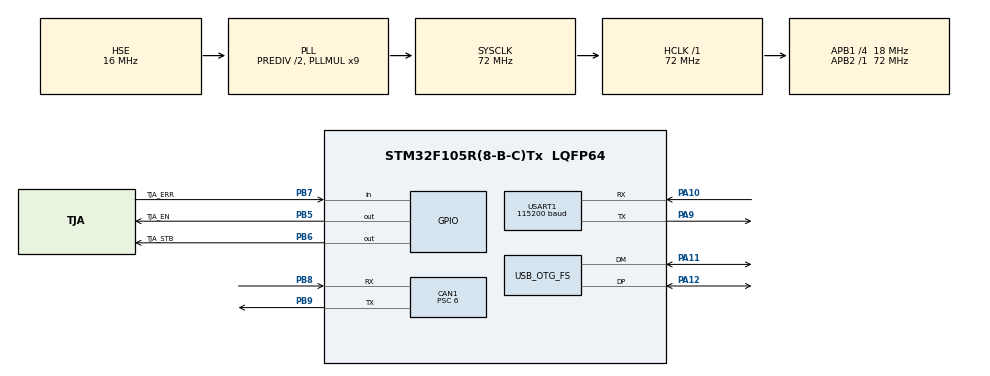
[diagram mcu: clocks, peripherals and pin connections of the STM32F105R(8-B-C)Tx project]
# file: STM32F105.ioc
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CAN1.BS1=CAN_BS1_6TQ
CAN1.BS2=CAN_BS2_5TQ
CAN1.CalculateTimeBit=4000
CAN1.CalculateTimeQuantum=333.33333333333337
CAN1.Mode=CAN_MODE_SILENT_LOOPBACK
CAN1.Prescaler=6
Dma.Request0=USART1_TX
Dma.Request1=USART1_RX
Dma.USART1_RX.1.Direction=DMA_PERIPH_TO_MEMORY
Dma.USART1_RX.1.Instance=DMA1_Channel5
Dma.USART1_RX.1.MemDataAlignment=DMA_MDATAALIGN_BYTE
Dma.USART1_RX.1.MemInc=DMA_MINC_ENABLE
Dma.USART1_RX.1.Mode=DMA_NORMAL
Dma.USART1_RX.1.PeriphDataAlignment=DMA_PDATAALIGN_BYTE
Dma.USART1_RX.1.PeriphInc=DMA_PINC_DISABLE
Dma.USART1_RX.1.Priority=DMA_PRIORITY_LOW
Dma.USART1_TX.0.Direction=DMA_MEMORY_TO_PERIPH
Dma.USART1_TX.0.Instance=DMA1_Channel4
Dma.USART1_TX.0.MemDataAlignment=DMA_MDATAALIGN_BYTE
Dma.USART1_TX.0.MemInc=DMA_MINC_ENABLE
Dma.USART1_TX.0.Mode=DMA_NORMAL
Dma.USART1_TX.0.PeriphDataAlignment=DMA_PDATAALIGN_BYTE
Dma.USART1_TX.0.PeriphInc=DMA_PINC_DISABLE
Dma.USART1_TX.0.Priority=DMA_PRIORITY_LOW
FREERTOS.Queues01=uartTxQueue,16,int,NULL;canRxQueue,16,int,NULL;canTxQueue,16,int,NULL
FREERTOS.Tasks01=defaultTask,0,128,StartDefaultTask;uartRxDmaTask,-3,128,StartUartRxDmaTask
Mcu.Family=STM32F1
Mcu.Name=STM32F105R(8-B-C)Tx
Mcu.Package=LQFP64
NVIC.CAN1_RX0_IRQn=true\:5\:0\:false
NVIC.CAN1_SCE_IRQn=true\:5\:0\:false
NVIC.CAN1_TX_IRQn=true\:5\:0\:false
NVIC.DMA1_Channel4_IRQn=true\:5\:0\:false
NVIC.DMA1_Channel5_IRQn=true\:5\:0\:false
NVIC.OTG_FS_IRQn=true\:5\:0\:false
NVIC.PriorityGroup=NVIC_PRIORITYGROUP_4
NVIC.USART1_IRQn=true\:5\:0\:false
PA10.Mode=Asynchronous
PA10.Signal=USART1_RX
PA11.Mode=Device_Only
PA11.Signal=USB_OTG_FS_DM
PA12.Mode=Device_Only
PA12.Signal=USB_OTG_FS_DP
PA13.Mode=Serial_Wire
PA13.Signal=SYS_JTMS-SWDIO
PA14.Mode=Serial_Wire
PA14.Signal=SYS_JTCK-SWCLK
PA9.Mode=Asynchronous
PA9.Signal=USART1_TX
PB5.GPIO_Label=TJA_EN
PB5.Signal=GPIO_Output
PB6.GPIO_Label=TJA_STB
PB6.Signal=GPIO_Output
PB7.GPIO_Label=TJA_ERR
PB7.Signal=GPIO_Input
PB8.Mode=Master
PB8.Signal=CAN1_RX
PB9.Mode=Master
PB9.Signal=CAN1_TX
PD0-OSC_IN.Mode=HSE-External-Oscillator
PD0-OSC_IN.Signal=RCC_OSC_IN
PD1-OSC_OUT.Mode=HSE-External-Oscillator
PD1-OSC_OUT.Signal=RCC_OSC_OUT
ProjectManager.TargetToolchain=SW4STM32
RCC.AHBFreq_Value=72000000
RCC.APB1CLKDivider=RCC_HCLK_DIV4
RCC.APB1Freq_Value=18000000
RCC.APB1TimFreq_Value=36000000
RCC.APB2Freq_Value=72000000
RCC.APB2TimFreq_Value=72000000
RCC.HCLKFreq_Value=72000000
RCC.HSEDivPLL=RCC_HSE_PREDIV_DIV2
RCC.HSE_VALUE=16000000
RCC.HSIState=RCC_HSI_ON
RCC.PLLMUL=RCC_PLL_MUL9
RCC.PLLSourceVirtual=RCC_PLLSOURCE_HSE
RCC.Prediv2=RCC_HSE_PREDIV2_DIV2
RCC.SYSCLKFreq_VALUE=72000000
RCC.SYSCLKSource=RCC_SYSCLKSOURCE_PLLCLK
RCC.TimSys_Div=SYSTICK_CLKSOURCE_HCLK_DIV8
RCC.USBFreq_Value=48000000
TIM6.Period=60000
TIM6.Prescaler=35999
TIM6.TIM_MasterOutputTrigger=TIM_TRGO_RESET
USART1.BaudRate=115200
USB_DEVICE.USBD_HandleTypeDef=hUsbDeviceFS
USB_DEVICE.VirtualMode=Cdc
USB_DEVICE.VirtualModeFS=Cdc_FS
USB_OTG_FS.VirtualMode=Device_Only
VP_FREERTOS_VS_ENABLE.Mode=Enabled
VP_TIM6_VS_ClockSourceINT.Mode=Enable_Timer
VP_USB_DEVICE_VS_USB_DEVICE_CDC_FS.Mode=CDC_FS
board=STM32F105

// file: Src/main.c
/**
  ******************************************************************************
  * File Name          : main.c
  * Description        : Main program body
  ******************************************************************************
  *
  * COPYRIGHT(c) 2015 STMicroelectronics
  *
  * Redistribution and use in source and binary forms, with or without modification,
  * are permitted provided that the following conditions are met:
  *   1. Redistributions of source code must retain the above copyright notice,
  *      this list of conditions and the following disclaimer.
  *   2. Redistributions in binary form must reproduce the above copyright notice,
  *      this list of conditions and the following disclaimer in the documentation
  *      and/or other materials provided with the distribution.
  *   3. Neither the name of STMicroelectronics nor the names of its contributors
  *      may be used to endorse or promote products derived from this software
  *      without specific prior written permission.
  *
  * THIS SOFTWARE IS PROVIDED BY THE COPYRIGHT HOLDERS AND CONTRIBUTORS "AS IS"
  * AND ANY EXPRESS OR IMPLIED WARRANTIES, INCLUDING, BUT NOT LIMITED TO, THE
  * IMPLIED WARRANTIES OF MERCHANTABILITY AND FITNESS FOR A PARTICULAR PURPOSE ARE
  * DISCLAIMED. IN NO EVENT SHALL THE COPYRIGHT HOLDER OR CONTRIBUTORS BE LIABLE
  * FOR ANY DIRECT, INDIRECT, INCIDENTAL, SPECIAL, EXEMPLARY, OR CONSEQUENTIAL
  * DAMAGES (INCLUDING, BUT NOT LIMITED TO, PROCUREMENT OF SUBSTITUTE GOODS OR
  * SERVICES; LOSS OF USE, DATA, OR PROFITS; OR BUSINESS INTERRUPTION) HOWEVER
  * CAUSED AND ON ANY THEORY OF LIABILITY, WHETHER IN CONTRACT, STRICT LIABILITY,
  * OR TORT (INCLUDING NEGLIGENCE OR OTHERWISE) ARISING IN ANY WAY OUT OF THE USE
  * OF THIS SOFTWARE, EVEN IF ADVISED OF THE POSSIBILITY OF SUCH DAMAGE.
  *
  ******************************************************************************
  */
#include "stm32f1xx_hal.h"
#include "cmsis_os.h"
#include "usb_device.h"

/* USER CODE BEGIN Includes */
#include <string.h>
#include <stdlib.h>
#include "canhacker.h"
#include "tja1055.h"
/* USER CODE END Includes */

CAN_HandleTypeDef hcan1;

TIM_HandleTypeDef htim6;

UART_HandleTypeDef huart1;
DMA_HandleTypeDef hdma_usart1_tx;
DMA_HandleTypeDef hdma_usart1_rx;

osThreadId defaultTaskHandle;
osThreadId uartRxDmaTaskHandle;
osMessageQId uartTxQueueHandle;
osMessageQId canRxQueueHandle;
osMessageQId canTxQueueHandle;

/* USER CODE BEGIN PV */
/* Private variables ---------------------------------------------------------*/
#define UART_RX_LINE_BUFFER 80
int timer = 0;
uint8_t uartLine[UART_RX_LINE_BUFFER];
int uartLineIndex = 0;
#define UART_RX_BUFFER 256

CAN_HandleTypeDef hcan1;
static CanTxMsgTypeDef        can1TxMessage;
static CanRxMsgTypeDef        can1RxMessage;

TJA1055_HandleTypeDef tja1055;
CanHacker_HandleTypeDef hcanhacker;

typedef struct
{
    uint8_t buffer[UART_RX_BUFFER];
    uint8_t readed;
    uint8_t filled;
    int offset;
} UART_DMA_RX_Buffer;

#define UART_RX_BUFFERS_COUNT 2

UART_DMA_RX_Buffer uartRxBuffer[UART_RX_BUFFERS_COUNT]= {
    { .readed = 1, .filled = 0, .offset = 0 },
    { .readed = 1, .filled = 0, .offset = 0 }
};
int currentUartRxBuffer = 0;
int currentUartRxBufferToRead = 0;

/* USER CODE END PV */

void SystemClock_Config(void);
static void MX_GPIO_Init(void);
static void MX_DMA_Init(void);
static void MX_CAN1_Init(void);
static void MX_TIM6_Init(void);
static void MX_USART1_UART_Init(void);
void StartDefaultTask(void const * argument);
void StartUartRxDmaTask(void const * argument);

/* USER CODE BEGIN PFP */
/* Private function prototypes -----------------------------------------------*/
void throwError(char *msg);

void txUart();
void txCan();
void rxCan();
void transmitErrorMessage(char *message);
/* USER CODE END PFP */

int main(void)
{

  /* MCU Configuration----------------------------------------------------------*/

  /* Reset of all peripherals, Initializes the Flash interface and the Systick. */
  HAL_Init();

  /* Configure the system clock */
  SystemClock_Config();

  /* Initialize all configured peripherals */
  MX_GPIO_Init();
  MX_DMA_Init();
  MX_CAN1_Init();
  MX_TIM6_Init();
  MX_USART1_UART_Init();

  /* USER CODE BEGIN 2 */

    tja1055.enPort = GPIOB;
    tja1055.enPin = TJA_EN_Pin;
    tja1055.errPort = GPIOB;
    tja1055.errPin = TJA_ERR_Pin;
    tja1055.stbPort = GPIOB;
    tja1055.stbPin = TJA_STB_Pin;
    TJA1055_Init(&tja1055);

    CanHacker_Init(&hcanhacker);

    hcan1.pTxMsg = &can1TxMessage;
    hcan1.pRxMsg = &can1RxMessage;

    CAN_FilterConfTypeDef canFilterConfig;
    canFilterConfig.FilterNumber = 0;
    canFilterConfig.FilterMode = CAN_FILTERMODE_IDMASK;
    canFilterConfig.FilterScale = CAN_FILTERSCALE_32BIT;
    canFilterConfig.FilterIdHigh = 0x0000;
    canFilterConfig.FilterIdLow = 0x0000;
    canFilterConfig.FilterMaskIdHigh = 0x0000 << 5;
    canFilterConfig.FilterMaskIdLow = 0x0000;
    canFilterConfig.FilterFIFOAssignment = 0;
    canFilterConfig.FilterActivation = ENABLE;
    canFilterConfig.BankNumber = 1;
    HAL_CAN_ConfigFilter(&hcan1, &canFilterConfig);

  /* USER CODE END 2 */

  /* Create the thread(s) */
  /* definition and creation of defaultTask */
  osThreadDef(defaultTask, StartDefaultTask, osPriorityNormal, 0, 128);
  defaultTaskHandle = osThreadCreate(osThread(defaultTask), NULL);

  /* definition and creation of uartRxDmaTask */
  osThreadDef(uartRxDmaTask, StartUartRxDmaTask, osPriorityIdle, 0, 128);
  uartRxDmaTaskHandle = osThreadCreate(osThread(uartRxDmaTask), NULL);

  /* Create the queue(s) */
  /* definition and creation of uartTxQueue */
  osMessageQDef(uartTxQueue, 16, int);
  uartTxQueueHandle = osMessageCreate(osMessageQ(uartTxQueue), NULL);

  /* definition and creation of canRxQueue */
  osMessageQDef(canRxQueue, 16, int);
  canRxQueueHandle = osMessageCreate(osMessageQ(canRxQueue), NULL);

  /* definition and creation of canTxQueue */
  osMessageQDef(canTxQueue, 16, int);
  canTxQueueHandle = osMessageCreate(osMessageQ(canTxQueue), NULL);

  /* Start scheduler */
  osKernelStart();

  /* We should never get here as control is now taken by the scheduler */

  /* Infinite loop */
  /* USER CODE BEGIN WHILE */
  while (1)
  {

      osDelay(1000);

  /* USER CODE END WHILE */

  }

}

/** System Clock Configuration
*/
void SystemClock_Config(void)
{

  RCC_OscInitTypeDef RCC_OscInitStruct;
  RCC_ClkInitTypeDef RCC_ClkInitStruct;
  RCC_PeriphCLKInitTypeDef PeriphClkInit;

  RCC_OscInitStruct.OscillatorType = RCC_OSCILLATORTYPE_HSE;
  RCC_OscInitStruct.HSEState = RCC_HSE_ON;
  RCC_OscInitStruct.HSEPredivValue = RCC_HSE_PREDIV_DIV2;
  RCC_OscInitStruct.Prediv1Source = RCC_PREDIV1_SOURCE_HSE;
  RCC_OscInitStruct.PLL.PLLState = RCC_PLL_ON;
  RCC_OscInitStruct.PLL.PLLSource = RCC_PLLSOURCE_HSE;
  RCC_OscInitStruct.PLL.PLLMUL = RCC_PLL_MUL9;
  RCC_OscInitStruct.PLL2.PLL2State = RCC_PLL_NONE;
  HAL_RCC_OscConfig(&RCC_OscInitStruct);

  RCC_ClkInitStruct.ClockType = RCC_CLOCKTYPE_SYSCLK|RCC_CLOCKTYPE_PCLK1;
  RCC_ClkInitStruct.SYSCLKSource = RCC_SYSCLKSOURCE_PLLCLK;
  RCC_ClkInitStruct.AHBCLKDivider = RCC_SYSCLK_DIV1;
  RCC_ClkInitStruct.APB1CLKDivider = RCC_HCLK_DIV4;
  RCC_ClkInitStruct.APB2CLKDivider = RCC_HCLK_DIV1;
  HAL_RCC_ClockConfig(&RCC_ClkInitStruct, FLASH_LATENCY_2);

  PeriphClkInit.PeriphClockSelection = RCC_PERIPHCLK_USB;
  PeriphClkInit.UsbClockSelection = RCC_USBPLLCLK_DIV3;
  HAL_RCCEx_PeriphCLKConfig(&PeriphClkInit);

  HAL_SYSTICK_Config(HAL_RCC_GetHCLKFreq()/8000);

  HAL_SYSTICK_CLKSourceConfig(SYSTICK_CLKSOURCE_HCLK_DIV8);

  __HAL_RCC_PLLI2S_ENABLE();

  /* SysTick_IRQn interrupt configuration */
  HAL_NVIC_SetPriority(SysTick_IRQn, 0, 0);
}

/* CAN1 init function */
void MX_CAN1_Init(void)
{

  hcan1.Instance = CAN1;
  hcan1.Init.Prescaler = 6;
  hcan1.Init.Mode = CAN_MODE_SILENT_LOOPBACK;
  hcan1.Init.SJW = CAN_SJW_1TQ;
  hcan1.Init.BS1 = CAN_BS1_6TQ;
  hcan1.Init.BS2 = CAN_BS2_5TQ;
  hcan1.Init.TTCM = DISABLE;
  hcan1.Init.ABOM = DISABLE;
  hcan1.Init.AWUM = DISABLE;
  hcan1.Init.NART = DISABLE;
  hcan1.Init.RFLM = DISABLE;
  hcan1.Init.TXFP = DISABLE;
  HAL_CAN_Init(&hcan1);

}

/* TIM6 init function */
void MX_TIM6_Init(void)
{

  TIM_MasterConfigTypeDef sMasterConfig;

  htim6.Instance = TIM6;
  htim6.Init.Prescaler = 35999;
  htim6.Init.CounterMode = TIM_COUNTERMODE_UP;
  htim6.Init.Period = 60000;
  HAL_TIM_Base_Init(&htim6);

  sMasterConfig.MasterOutputTrigger = TIM_TRGO_RESET;
  sMasterConfig.MasterSlaveMode = TIM_MASTERSLAVEMODE_DISABLE;
  HAL_TIMEx_MasterConfigSynchronization(&htim6, &sMasterConfig);

}

/* USART1 init function */
void MX_USART1_UART_Init(void)
{

  huart1.Instance = USART1;
  huart1.Init.BaudRate = 115200;
  huart1.Init.WordLength = UART_WORDLENGTH_8B;
  huart1.Init.StopBits = UART_STOPBITS_1;
  huart1.Init.Parity = UART_PARITY_NONE;
  huart1.Init.Mode = UART_MODE_TX_RX;
  huart1.Init.HwFlowCtl = UART_HWCONTROL_NONE;
  huart1.Init.OverSampling = UART_OVERSAMPLING_16;
  HAL_UART_Init(&huart1);

}

void MX_DMA_Init(void)
{
  /* DMA controller clock enable */
  __HAL_RCC_DMA1_CLK_ENABLE();

  /* DMA interrupt init */
  HAL_NVIC_SetPriority(DMA1_Channel4_IRQn, 5, 0);
  HAL_NVIC_EnableIRQ(DMA1_Channel4_IRQn);
  HAL_NVIC_SetPriority(DMA1_Channel5_IRQn, 5, 0);
  HAL_NVIC_EnableIRQ(DMA1_Channel5_IRQn);

}

/** Configure pins as
        * Analog
        * Input
        * Output
        * EVENT_OUT
        * EXTI
*/
void MX_GPIO_Init(void)
{

  GPIO_InitTypeDef GPIO_InitStruct;

  /* GPIO Ports Clock Enable */
  __HAL_RCC_GPIOD_CLK_ENABLE();
  __HAL_RCC_GPIOA_CLK_ENABLE();
  __HAL_RCC_GPIOB_CLK_ENABLE();

  /*Configure GPIO pins : TJA_EN_Pin TJA_STB_Pin */
  GPIO_InitStruct.Pin = TJA_EN_Pin|TJA_STB_Pin;
  GPIO_InitStruct.Mode = GPIO_MODE_OUTPUT_PP;
  GPIO_InitStruct.Speed = GPIO_SPEED_LOW;
  HAL_GPIO_Init(GPIOB, &GPIO_InitStruct);

  /*Configure GPIO pin : TJA_ERR_Pin */
  GPIO_InitStruct.Pin = TJA_ERR_Pin;
  GPIO_InitStruct.Mode = GPIO_MODE_INPUT;
  GPIO_InitStruct.Pull = GPIO_NOPULL;
  HAL_GPIO_Init(TJA_ERR_GPIO_Port, &GPIO_InitStruct);

}

/* USER CODE BEGIN 4 */
/*void MX_CAN1_Init(void)
{

    hcan1.Instance = CAN1;
    hcan1.Init.Prescaler = 6;
    hcan1.Init.Mode = CAN_MODE_SILENT_LOOPBACK;
    hcan1.Init.SJW = CAN_SJW_1TQ;
    hcan1.Init.BS1 = CAN_BS1_6TQ;
    hcan1.Init.BS2 = CAN_BS2_5TQ;
    hcan1.Init.TTCM = DISABLE;
    hcan1.Init.ABOM = DISABLE;
    hcan1.Init.AWUM = DISABLE;
    hcan1.Init.NART = DISABLE;
    hcan1.Init.RFLM = DISABLE;
    hcan1.Init.TXFP = DISABLE;
    HAL_StatusTypeDef canInitResult = HAL_CAN_Init(&hcan1);

    switch (canInitResult) {
        case HAL_OK: break;
        case HAL_ERROR:
            throwError("MX_CAN1_Init: error");
            break;
        case HAL_BUSY:
            throwError("MX_CAN1_Init: busy");
            break;
        case HAL_TIMEOUT:
            throwError("MX_CAN1_Init: timeout");
            break;
    }
}*/

void throwError(char *msg)
{
    transmitErrorMessage(msg);
    while(1) {
        HAL_Delay(1000);
    };
}

void txUart() {
    HAL_UART_StateTypeDef state = HAL_UART_GetState(&huart1);

    if (state == HAL_UART_STATE_BUSY_TX_RX || state == HAL_UART_STATE_BUSY_TX) {
    } else {

        osEvent event = osMessageGet(uartTxQueueHandle, osWaitForever);
        if (event.status == osEventMessage) {
            char *str = event.value.p;
            int len = strlen(str);
            if (len > 0) {
                HAL_StatusTypeDef result = HAL_UART_Transmit_DMA(&huart1, (uint8_t*)str, len);
                switch (result) {
                    case HAL_OK: break;
                    case HAL_ERROR:
                        throwError("HAL_UART_Transmit_IT: error");
                        break;
                    case HAL_BUSY:
                        throwError("HAL_UART_Transmit_IT: busy");
                        break;
                    case HAL_TIMEOUT:
                        throwError("HAL_UART_Transmit_IT: timeout");
                        break;
                }
            } else {
                free(str);
            }
        }
    }
}

void HAL_UART_TxCpltCallback(UART_HandleTypeDef *huart) {
    if (huart->pTxBuffPtr) {
        free(huart->pTxBuffPtr);
    }
    txUart();
}

void startUartDmaReceive(UART_HandleTypeDef *huart, UART_DMA_RX_Buffer *uartRxBuffer) {
    uartRxBuffer->readed = 0;
    HAL_StatusTypeDef result = HAL_UART_Receive_DMA(huart, uartRxBuffer->buffer, UART_RX_BUFFER);
    switch (result) {
        case HAL_OK: break;
        case HAL_ERROR: throwError("HAL_UART_Receive_DMA: error"); break;
        case HAL_BUSY: throwError("HAL_UART_Receive_DMA: busy"); break;
        case HAL_TIMEOUT: throwError("HAL_UART_Receive_DMA: timeout"); break;
    }
}

void HAL_UART_RxCpltCallback(UART_HandleTypeDef *huart) {

    if (huart->Instance == USART1) {
        // switch buffer
        uartRxBuffer[currentUartRxBuffer].filled = 1;
        currentUartRxBuffer++;
        currentUartRxBuffer %= UART_RX_BUFFERS_COUNT;
        if (!uartRxBuffer[currentUartRxBuffer].readed) {
            throwError("UART RX OVERRUN");
        }

        startUartDmaReceive(huart, &uartRxBuffer[currentUartRxBuffer]);
    }
}

void HAL_UART_ErrorCallback(UART_HandleTypeDef *huart) {
    uint32_t code = huart->ErrorCode;
    if (code & HAL_UART_ERROR_PE) { throwError("UART error: Parity error"); }
    if (code & HAL_UART_ERROR_NE) { throwError("UART error: Noise error"); }
    if (code & HAL_UART_ERROR_FE) { throwError("UART error: frame error"); }
    if (code & HAL_UART_ERROR_ORE) { throwError("UART error: Overrun error"); }
    if (code & HAL_UART_ERROR_DMA) { throwError("UART error: DMA error"); }
    char str[80];
    sprintf(str, "Uart error code: %X", (unsigned int)code);
    throwError(str);
}

void HAL_CAN_TxCpltCallback(CAN_HandleTypeDef* hcan) {
    printf("HAL_CAN_TxCpltCallback\n");
    txCan();
}

void HAL_CAN_RxCpltCallback(CAN_HandleTypeDef* hcan) {
    HAL_GPIO_TogglePin(GPIOC, GPIO_PIN_13);
    CanRxMsgTypeDef *rxMsg = malloc(sizeof(CanRxMsgTypeDef));
    memcpy(rxMsg, hcan->pRxMsg, sizeof(CanRxMsgTypeDef));

    osMessagePut (canRxQueueHandle, (uint32_t)rxMsg, osWaitForever);
    rxCan();
}

void HAL_CAN_ErrorCallback(CAN_HandleTypeDef *hcan) {
    throwError("HAL_CAN_ErrorCallback");
}

void rxCan() {
    HAL_StatusTypeDef result = HAL_CAN_Receive_IT(&hcan1, CAN_FIFO0);
    switch (result) {
        case HAL_OK: break;
        case HAL_ERROR:
            throwError("HAL_CAN_Receive_IT: error");
            break;
        case HAL_BUSY:
            throwError("HAL_CAN_Receive_IT: busy");
            break;
        case HAL_TIMEOUT:
            throwError("HAL_CAN_Receive_IT: timeout");
            break;
    }
    switch (hcan1.ErrorCode) {
        case HAL_CAN_ERROR_NONE: break;       /*!< No error             */
        case HAL_CAN_ERROR_EWG:               /*!< EWG error            */
        case HAL_CAN_ERROR_EPV:               /*!< EPV error            */
        case HAL_CAN_ERROR_BOF:               /*!< BOF error            */
        case HAL_CAN_ERROR_STF:               /*!< Stuff error          */
        case HAL_CAN_ERROR_FOR:               /*!< Form error           */
        case HAL_CAN_ERROR_ACK:               /*!< Acknowledgment error */
        case HAL_CAN_ERROR_BR:                /*!< Bit recessive        */
        case HAL_CAN_ERROR_BD:                /*!< LEC dominant         */
        case HAL_CAN_ERROR_CRC:
            throwError("RXCAN ERROR");
            break;
    }
}

void txCan() {
    if (hcan1.State == HAL_CAN_STATE_READY && hcan1.txState == HAL_CAN_RXTX_STATE_READY) {

        osEvent event = osMessageGet(canTxQueueHandle, osWaitForever);
        if (event.status == osEventMessage) {
            //memcpy(hcan.pTxMsg, event.value.p, sizeof(CanTxMsgTypeDef));
            can1TxMessage = *(CanTxMsgTypeDef *)event.value.p;
            HAL_StatusTypeDef result = HAL_CAN_Transmit_IT(&hcan1);
            free(event.value.p);
            switch (result) {
                case HAL_OK: break;
                case HAL_ERROR:
                    throwError("HAL_CAN_Transmit_IT: error");
                    break;
                case HAL_BUSY:
                    throwError("HAL_CAN_Transmit_IT: busy");
                    break;
                case HAL_TIMEOUT:
                    throwError("HAL_CAN_Transmit_IT: timeout");
                    break;
            }
            switch (hcan1.ErrorCode) {
                case HAL_CAN_ERROR_NONE: break;       /*!< No error             */
                case HAL_CAN_ERROR_EWG:               /*!< EWG error            */
                case HAL_CAN_ERROR_EPV:               /*!< EPV error            */
                case HAL_CAN_ERROR_BOF:               /*!< BOF error            */
                case HAL_CAN_ERROR_STF:               /*!< Stuff error          */
                case HAL_CAN_ERROR_FOR:               /*!< Form error           */
                case HAL_CAN_ERROR_ACK:               /*!< Acknowledgment error */
                case HAL_CAN_ERROR_BR:                /*!< Bit recessive        */
                case HAL_CAN_ERROR_BD:                /*!< LEC dominant         */
                case HAL_CAN_ERROR_CRC:
                    throwError("TXCAN error advanced");
                    break;
            }
        }
    } else {
        //printf("State is %d\n", hcan1.State);
        //throwError("State");
    }
}

void transmitErrorMessage(char *message) {
    int len = strlen((char *)message);
    char *str = malloc(len+3);
    memcpy(str, message, len);
    str[len] = '\r';
    str[len+1] = '\n';
    str[len+2] = '\0';

    osMessagePut (uartTxQueueHandle, (uint32_t)str, osWaitForever);
    txUart();

    return;
}

void gotoNextBufferToRead() {
    if (currentUartRxBufferToRead != currentUartRxBuffer) {
        currentUartRxBufferToRead++;
        currentUartRxBufferToRead %= UART_RX_BUFFERS_COUNT;
    }
}

int processUartDmaBuffer(UART_HandleTypeDef *huart, UART_DMA_RX_Buffer *uartRxBuffer) {
    int itemsProcessed = 0;

    if (uartRxBuffer->readed) {
        return itemsProcessed;
    }

    int dmaOffset;
    if (uartRxBuffer->filled) {
        dmaOffset = UART_RX_BUFFER;
    } else {
        dmaOffset = huart->RxXferSize - huart->hdmarx->Instance->CNDTR;
    }
    int bytesReady = dmaOffset - uartRxBuffer->offset;

    if (bytesReady > 0) {

        while(uartRxBuffer->offset < dmaOffset) {
            uint8_t c = uartRxBuffer->buffer[uartRxBuffer->offset];
            switch (c) {
                case '\0':
                case '\r':
                case '\n':
                    if (uartLineIndex > 0) {
                        uartLine[uartLineIndex++] = '\0';
                        /*uint8_t *str = malloc(uartLineIndex);
                        memcpy(str, uartLine, uartLineIndex);*/

                        CanHacker_Receive_Cmd(&hcanhacker, uartLine);

                        uartLineIndex = 0;
                        /*osStatus status = osMessagePut(uartRxQueueHandle, (uint32_t)str, osWaitForever);
                        switch (status) {
                            case osOK:
                                break;
                            default:
                                throwError("Error put to queue");
                                break;
                        }*/
                    }
                    break;
                default:
                    uartLine[uartLineIndex++] = c;
                    break;
            }

            uartRxBuffer->offset++;
        }

        itemsProcessed++;
    }

    if (uartRxBuffer->offset >= UART_RX_BUFFER) {
        uartRxBuffer->readed = 1;
        uartRxBuffer->offset = 0;
        uartRxBuffer->filled = 0;

        gotoNextBufferToRead();
    }

    return itemsProcessed;
}

void CanHacker_ErrorCallback(CanHacker_HandleTypeDef *canhacker, char *message) {
    throwError(message);
}

void CanHacker_CanTxMsgReadyCallback(CanHacker_HandleTypeDef *canhacker, CanTxMsgTypeDef *txMsg) {
    CanTxMsgTypeDef *txMsgQ = malloc(sizeof(CanTxMsgTypeDef));
    memcpy(txMsgQ, txMsg, sizeof(CanTxMsgTypeDef));

    osMessagePut (canTxQueueHandle, (uint32_t)txMsgQ, osWaitForever);
    txCan();

    return;
}

void CanHacker_UartMsgReadyCallback(CanHacker_HandleTypeDef *canhacker, uint8_t *line) {
    int len = strlen((char *)line);
    char *str = malloc(len+1);
    memcpy(str, line, len+1);
    osMessagePut (uartTxQueueHandle, (uint32_t)str, osWaitForever);
    txUart();
}

uint32_t CanHacker_GetTimestampCallback(CanHacker_HandleTypeDef *canhacker) {
    return htim6.Instance->CNT;
}

void CanHacker_StartTimerCallback(CanHacker_HandleTypeDef *canhacker) {
    HAL_TIM_Base_Start(&htim6);
}

void CanHacker_StopTimerCallback(CanHacker_HandleTypeDef *canhacker) {
    HAL_TIM_Base_Stop(&htim6);
}

/* USER CODE END 4 */

/* StartDefaultTask function */
void StartDefaultTask(void const * argument)
{
  /* init code for USB_DEVICE */
  //MX_USB_DEVICE_Init();

  /* USER CODE BEGIN 5 */
    rxCan();

    /* Infinite loop */
    for(;;)
    {
        int itemsProcessed = 0;

        osEvent canEvent = osMessageGet(canRxQueueHandle, osWaitForever);
        if (canEvent.status == osEventMessage) {

            CanHacker_Receive_CanMsg(&hcanhacker, (CanRxMsgTypeDef *)canEvent.value.p);
            free(canEvent.value.p);

            itemsProcessed++;
        }

        // sleep only when nothing to do
        if (!itemsProcessed) {
            osDelay(1);
        }
    }
  /* USER CODE END 5 */
}

/* StartUartRxDmaTask function */
void StartUartRxDmaTask(void const * argument)
{
  /* USER CODE BEGIN StartUartRxDmaTask */

    currentUartRxBuffer = 0;
    currentUartRxBufferToRead = 0;
    startUartDmaReceive(&huart1, &uartRxBuffer[currentUartRxBuffer]);

    for(;;) {
        int itemsProcessed = processUartDmaBuffer(&huart1, &uartRxBuffer[currentUartRxBufferToRead]);
        if (!itemsProcessed) {
            osDelay(1);
        }
    }
  /* USER CODE END StartUartRxDmaTask */
}

#ifdef USE_FULL_ASSERT

/**
   * @brief Reports the name of the source file and the source line number
   * where the assert_param error has occurred.
   * @param file: pointer to the source file name
   * @param line: assert_param error line source number
   * @retval None
   */
void assert_failed(uint8_t* file, uint32_t line)
{
  /* USER CODE BEGIN 6 */
  /* User can add his own implementation to report the file name and line number,
    ex: printf("Wrong parameters value: file %s on line %d\r\n", file, line) */
    printf("Wrong parameters value: file %s on line %d\r\n", (char *)file, (int *)line);
  /* USER CODE END 6 */

}

#endif

/************************ (C) COPYRIGHT STMicroelectronics *****END OF FILE****/
